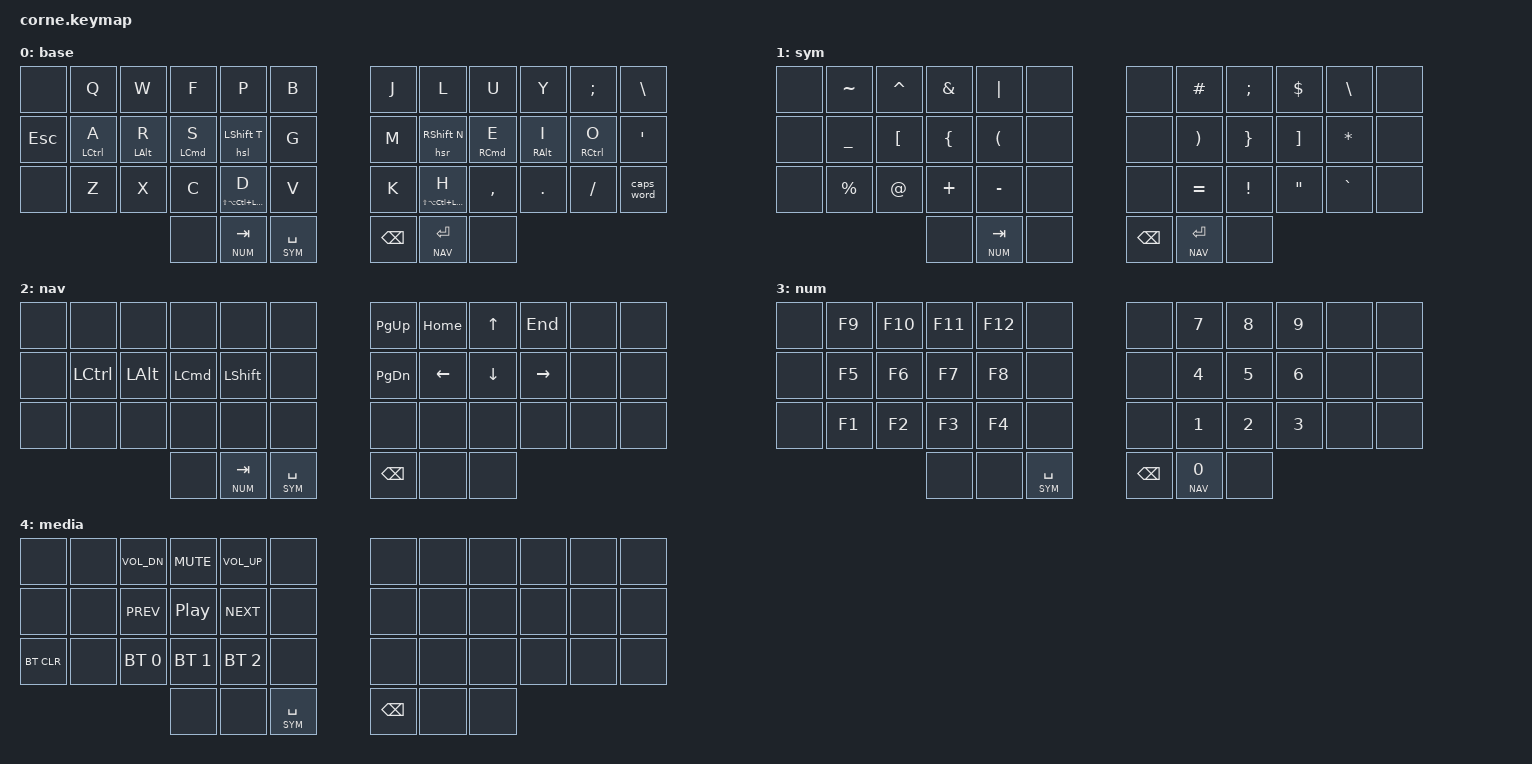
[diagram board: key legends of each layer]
#include <behaviors.dtsi>
#include <dt-bindings/zmk/keys.h>
#include <dt-bindings/zmk/bt.h>

#define ___ &none

#define SYM   1
#define NAV   2
#define NUM   3
#define MEDIA 4

#define HYPER LS(LA(LC(LCMD)))

#define BT_SEL_0 &bt BT_SEL 0
#define BT_SEL_1 &bt BT_SEL 1
#define BT_SEL_2 &bt BT_SEL 2
#define BT_CLEAR &bt BT_CLR

/*
 *  ╭────────────────────────┬────────────────────────╮
 *  │  0   1   2   3   4   5 │  6   7   8   9  10  11 │
 *  │ 12  13  14  15  16  17 │ 18  19  20  21  22  23 │
 *  │ 24  25  26  27  28  29 │ 30  31  32  33  34  35 │
 *  ╰───────────╮ 36  37  38 │ 39  40  41 ╭───────────╯
 *              ╰────────────┴────────────╯
 */

#define LHS 0  1  2  3  4  5   12 13 14 15 16 17  24 25 26 27 28 29
#define RHS 6  7  8  9  10 11  18 19 20 21 22 23  30 31 32 33 34 35
#define TMB 36 37 38 39 40 41

#define DEFINE_HRM(_label, _name, _hold, _tap, _triggers, ...)  \
    _label: _name {                                             \
      compatible = "zmk,behavior-hold-tap";                     \
      #binding-cells = <2>;                                     \
      flavor = "balanced";                                      \
      tapping-term-ms = <200>;                                  \
      quick-tap-ms = <175>;                                     \
      bindings = <_hold>, <_tap>;                               \
      hold-trigger-key-positions = <_triggers>;                 \
      hold-trigger-on-release;                                  \
      __VA_ARGS__                                               \
    }

/ {
    keymap {
        compatible = "zmk,keymap";

        base_layer {
            display-name = "base";
            bindings = <
    ___      &kp Q        &kp W        &kp F       &kp P        &kp B          &kp J       &kp L        &kp U       &kp Y       &kp SEMI     &kp BSLH
    &kp ESC  &hml LCTRL A &hml LALT R  &hml LCMD S &hsl LSHFT T &kp G          &kp M       &hsr RSHFT N &hmr RCMD E &hmr RALT I &hmr RCTRL O &kp SQT
    ___      &kp Z        &kp X        &kp C       &hml HYPER D &kp V          &kp K       &hmr HYPER H &kp COMMA   &kp DOT     &kp FSLH     &caps_word
                                       ___         &lt NUM TAB  &lt SYM SPACE  &kp BSPC    &lt NAV RET  ___
            >;
        };

        sym_layer {
            display-name = "sym";
            bindings = <
    ___      &kp TILDE    &kp CARET    &kp AMPS    &kp PIPE     ___            ___         &kp HASH     &kp SEMI    &kp DLLR    &kp BSLH    ___
    ___      &kp UNDER    &kp LBKT     &kp LBRC    &kp LPAR     ___            ___         &kp RPAR     &kp RBRC    &kp RBKT    &kp STAR    ___
    ___      &kp PRCNT    &kp AT       &kp PLUS    &kp MINUS    ___            ___         &kp EQUAL    &kp EXCL    &kp DQT     &kp GRAVE   ___
                                       ___         &lt NUM TAB  ___            &kp BSPC    &lt NAV RET  ___
            >;
        };

        nav_layer {
            display-name = "nav";
            bindings = <
    ___      ___          ___          ___         ___          ___            &kp PG_UP   &kp HOME     &kp UP      &kp END     ___         ___
    ___      &kp LCTRL    &kp LALT     &kp LCMD    &kp LSHFT    ___            &kp PG_DN   &kp LEFT     &kp DOWN    &kp RIGHT   ___         ___
    ___      ___          ___          ___         ___          ___            ___         ___          ___         ___         ___         ___
                                       ___         &lt NUM TAB  &lt SYM SPACE  &kp BSPC    ___          ___
            >;
        };

        num_layer {
            display-name = "num";
            bindings = <
    ___      &kp F9       &kp F10      &kp F11     &kp F12      ___            ___         &kp N7       &kp N8      &kp N9      ___         ___
    ___      &kp F5       &kp F6       &kp F7      &kp F8       ___            ___         &kp N4       &kp N5      &kp N6      ___         ___
    ___      &kp F1       &kp F2       &kp F3      &kp F4       ___            ___         &kp N1       &kp N2      &kp N3      ___         ___
                                       ___         ___          &lt SYM SPACE  &kp BSPC    &lt NAV N0   ___
            >;
        };

        media_layer {
            display-name = "media";
            bindings = <
    ___      ___          &kp C_VOL_DN &kp C_MUTE  &kp C_VOL_UP ___            ___         ___          ___         ___         ___         ___
    ___      ___          &kp C_PREV   &kp C_PP    &kp C_NEXT   ___            ___         ___          ___         ___         ___         ___
    BT_CLEAR ___          BT_SEL_0     BT_SEL_1    BT_SEL_2     ___            ___         ___          ___         ___         ___         ___
                                       ___         ___          &lt SYM SPACE  &kp BSPC    ___          ___
            >;
        };
    };

    conditional_layers {
        compatible = "zmk,conditional-layers";
        tri_layer {
            if-layers = <NUM NAV>;
            then-layer = <MEDIA>;
        };
    };

    behaviors {
        // homerow mods that are NOT the shift key
        DEFINE_HRM(hml, home_row_mod_left, &kp, &kp, RHS TMB,
            require-prior-idle-ms = <100>;
        );

        DEFINE_HRM(hmr, home_row_mod_right, &kp, &kp, LHS TMB,
            require-prior-idle-ms = <100>;
        );

        // homerow mods that ARE the shift key
        DEFINE_HRM(hsl, home_row_mod_for_shift_left, &kp, &kp, RHS TMB);
        DEFINE_HRM(hsr, home_row_mod_for_shift_right, &kp, &kp, LHS TMB);
    };
};

&lt {
    flavor = "balanced";
    tapping-term-ms = <175>;
};
